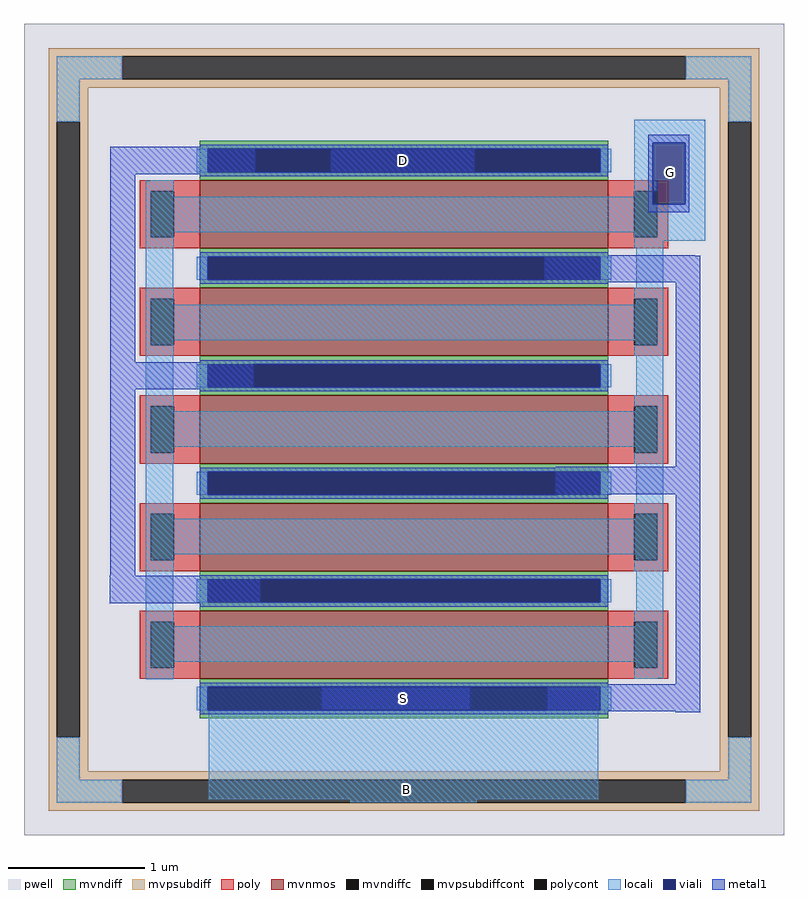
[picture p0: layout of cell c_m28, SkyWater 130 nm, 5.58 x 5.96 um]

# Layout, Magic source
magic
tech sky130A
magscale 1 2
<< locali >>
rect 819 972 923 1006
rect 102 893 142 916
rect 819 893 846 972
rect 102 882 846 893
rect 894 882 923 972
rect 102 841 923 882
rect 102 734 142 841
rect 819 828 923 841
rect 822 734 862 828
rect 102 682 862 734
rect 102 578 142 682
rect 822 578 862 682
rect 102 526 862 578
rect 102 420 142 526
rect 822 420 862 526
rect 102 368 862 420
rect 102 262 142 368
rect 822 262 862 368
rect 102 210 862 262
rect 102 184 142 210
rect 822 186 862 210
rect 194 8 766 170
rect 402 4 588 8
<< viali >>
rect 846 882 894 972
<< metal1 >>
rect 840 972 900 984
rect 50 926 262 966
rect 374 930 584 962
rect 50 650 86 926
rect 840 882 846 972
rect 894 882 900 972
rect 840 870 900 882
rect 688 806 908 807
rect 688 767 916 806
rect 50 610 260 650
rect 50 336 86 610
rect 880 496 916 767
rect 704 456 916 496
rect 49 296 269 336
rect 880 177 916 456
rect 360 140 578 172
rect 691 137 916 177
rect 880 136 916 137
use sky130_fd_pr__nfet_g5v0d10v5_2LX3WQ  sky130_fd_pr__nfet_g5v0d10v5_2LX3WQ_0
transform 0 1 481 -1 0 551
box -596 -558 596 558
<< labels >>
flabel metal1 480 946 480 946 0 FreeSans 800 0 0 0 D
port 0 nsew
flabel viali 872 928 872 928 0 FreeSans 800 0 0 0 G
port 1 nsew
flabel metal1 480 156 480 156 0 FreeSans 800 0 0 0 S
port 2 nsew
flabel locali 484 22 484 22 0 FreeSans 800 0 0 0 B
port 3 nsew
<< end >>

# cell sky130_fd_pr__nfet_g5v0d10v5_2LX3WQ: kit device sky130_fd_pr__nfet_g5v0d10v5, w 3 l 0.5 m 1 nf 5 diffcov 100 polycov 100 guard 1 glc 1 grc 1 gtc 1 gbc 1 tbcov 100 rlcov 100 topc 1 botc 1 poverlap 0 doverlap 1 lmin 0.50 wmin 0.42 class mosfet compatible {sky130_fd_pr__nfet_01v8 sky130_fd_pr__nfet_01v8_lvt sky130_fd_bs_flash__special_sonosfet_star sky130_fd_pr__nfet_g5v0d10v5 sky130_fd_pr__nfet_05v0_nvt sky130_fd_pr__nfet_03v3_nvt} full_metal 1 conn_gates 0 viasrc 100 viadrn 100 viagate 100 viagb 0 viagr 0 viagl 0 viagt 0 doports 1
